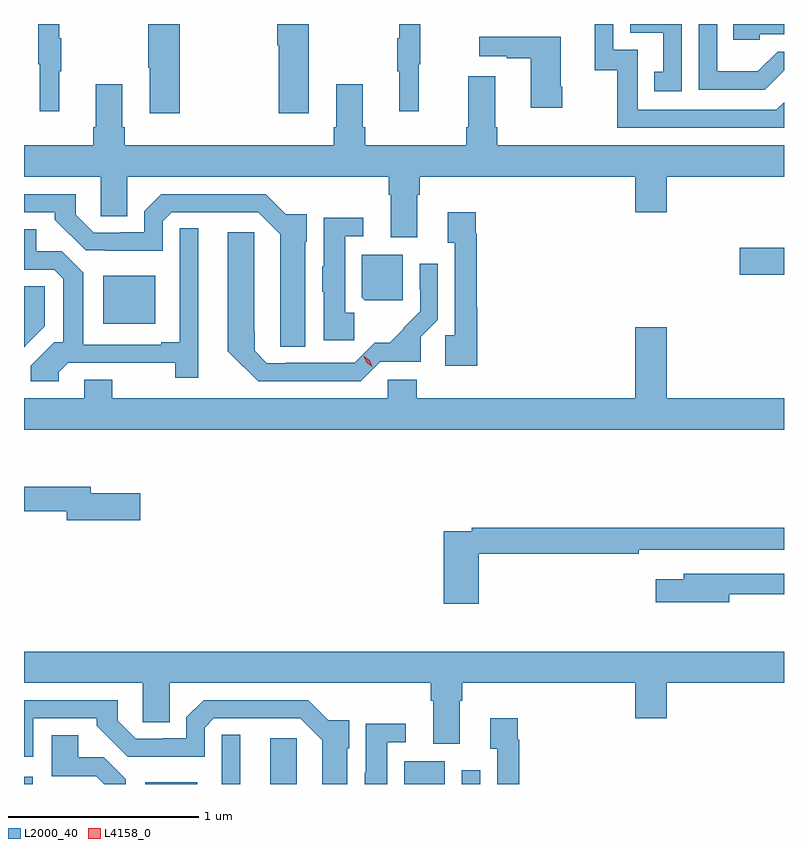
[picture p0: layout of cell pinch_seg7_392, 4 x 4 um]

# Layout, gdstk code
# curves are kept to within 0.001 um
import gdstk
lib = gdstk.Library(unit=1e-6, precision=1e-09)
def R(c, l, rs):  # rectangles x0, y0, x1, y1
    for r in rs: c.add(gdstk.rectangle(r[:2], r[2:], *l))
def P(c, l, *ps):  # polygons
    for p in ps: c.add(gdstk.Polygon(p, *l))
L2000_40 = (2000, 40)
L4158_0 = (4158, 0)

pinch_seg7_392 = lib.new_cell('pinch_seg7_392')
R(pinch_seg7_392, L2000_40, [(545.406,1018.731,545.452,1018.768), (546.044,1018.731,546.319,1018.741), (546.447,1018.731,546.544,1018.991), (546.701,1018.731,546.841,1018.972), (547.406,1018.731,547.621,1018.852), (547.71,1018.731,547.806,1018.804), (545.822,1021.154,546.097,1021.405), (549.174,1021.412,549.406,1021.554)])
P(pinch_seg7_392, L2000_40, [(549.279,1022.676),(549.406,1022.676),(549.406,1022.731),(549.139,1022.731),(549.139,1022.649),(549.279,1022.649)],
  [(548.868,1022.731),(548.598,1022.731),(548.598,1022.685),(548.771,1022.685),(548.771,1022.481),(548.722,1022.481),(548.722,1022.376),(548.868,1022.376)],
  [(546.227,1022.731),(546.061,1022.731),(546.061,1022.5),(546.068,1022.5),(546.068,1022.262),(546.227,1022.262)],
  [(545.591,1022.483),(545.602,1022.483),(545.602,1022.657),(545.591,1022.657),(545.591,1022.731),(545.481,1022.731),(545.481,1022.52),(545.488,1022.52),(545.488,1022.271),(545.591,1022.271)],
  [(546.904,1022.731),(546.74,1022.731),(546.74,1022.619),(546.746,1022.619),(546.746,1022.262),(546.904,1022.262)],
  [(547.484,1022.52),(547.492,1022.52),(547.492,1022.731),(547.382,1022.731),(547.382,1022.657),(547.371,1022.657),(547.371,1022.483),(547.382,1022.483),(547.382,1022.271),(547.484,1022.271)],
  [(549.406,1022.487),(549.406,1022.586),(549.372,1022.586),(549.268,1022.482),(549.054,1022.482),(549.054,1022.731),(548.958,1022.731),(548.958,1022.385),(549.304,1022.385)],
  [(549.406,1022.32),(549.366,1022.28),(548.637,1022.28),(548.637,1022.595),(548.508,1022.595),(548.508,1022.731),(548.411,1022.731),(548.411,1022.487),(548.529,1022.487),(548.529,1022.184),(549.406,1022.184)],
  [(548.238,1022.401),(548.23,1022.401),(548.23,1022.665),(547.803,1022.665),(547.803,1022.561),(547.946,1022.561),(547.946,1022.551),(548.072,1022.551),(548.072,1022.289),(548.238,1022.289)],
  [(547.477,1021.832),(547.49,1021.832),(547.49,1021.928),(548.624,1021.928),(548.624,1021.74),(548.788,1021.74),(548.788,1021.928),(549.406,1021.928),(549.406,1022.092),(547.898,1022.092),(547.898,1022.188),(547.885,1022.188),(547.885,1022.455),(547.745,1022.455),(547.745,1022.188),(547.733,1022.188),(547.733,1022.092),(547.202,1022.092),(547.202,1022.188),(547.189,1022.188),(547.189,1022.413),(547.049,1022.413),(547.049,1022.188),(547.037,1022.188),(547.037,1022.092),(545.936,1022.092),(545.936,1022.188),(545.923,1022.188),(545.923,1022.413),(545.783,1022.413),(545.783,1022.188),(545.771,1022.188),(545.771,1022.092),(545.406,1022.092),(545.406,1021.928),(545.81,1021.928),(545.81,1021.72),(545.95,1021.72),(545.95,1021.928),(547.325,1021.928),(547.325,1021.832),(547.337,1021.832),(547.337,1021.608),(547.477,1021.608)],
  [(546.886,1021.584),(546.895,1021.584),(546.895,1021.731),(546.784,1021.731),(546.679,1021.836),(546.129,1021.836),(546.039,1021.746),(546.039,1021.635),(545.914,1021.635),(545.914,1021.632),(545.772,1021.632),(545.678,1021.727),(545.678,1021.836),(545.406,1021.836),(545.406,1021.74),(545.568,1021.74),(545.568,1021.701),(545.73,1021.539),(546.135,1021.538),(546.135,1021.692),(546.183,1021.74),(546.639,1021.74),(546.755,1021.624),(546.755,1021.033),(546.886,1021.033)],
  [(547.792,1021.239),(547.79,1021.239),(547.79,1021.628),(547.783,1021.628),(547.783,1021.741),(547.637,1021.741),(547.637,1021.58),(547.674,1021.58),(547.674,1021.092),(547.622,1021.092),(547.622,1020.932),(547.792,1020.932)],
  [(547.144,1021.212),(547.096,1021.212),(547.096,1021.614),(547.192,1021.614),(547.192,1021.712),(546.983,1021.712),(546.983,1021.455),(546.977,1021.455),(546.977,1021.323),(546.983,1021.323),(546.983,1021.067),(547.144,1021.067)],
  [(545.59,1020.899),(545.638,1020.948),(546.202,1020.947),(546.202,1020.87),(546.322,1020.87),(546.322,1021.655),(546.225,1021.655),(546.225,1021.057),(546.128,1021.057),(546.128,1021.044),(545.719,1021.044),(545.719,1021.421),(545.604,1021.536),(545.47,1021.536),(545.47,1021.651),(545.406,1021.651),(545.406,1021.437),(545.565,1021.437),(545.613,1021.389),(545.612,1021.057),(545.566,1021.057),(545.442,1020.933),(545.442,1020.852),(545.59,1020.852)],
  [(547.281,1020.954),(547.495,1020.954),(547.495,1021.086),(547.584,1021.175),(547.584,1021.468),(547.488,1021.468),(547.488,1021.334),(547.491,1021.334),(547.491,1021.218),(547.402,1021.129),(547.404,1021.127),(547.331,1021.054),(547.252,1021.054),(547.146,1020.948),(546.784,1020.948),(546.784,1020.945),(546.684,1020.945),(546.62,1021.01),(546.619,1021.636),(546.479,1021.636),(546.479,1021.005),(546.482,1021.005),(546.559,1020.928),(546.56,1020.929),(546.638,1020.852),(547.179,1020.852)],
  [(547.399,1021.516),(547.184,1021.516),(547.184,1021.293),(547.2,1021.277),(547.399,1021.277)],
  [(545.413,1021.036),(545.412,1021.037),(545.515,1021.14),(545.515,1021.241),(545.514,1021.241),(545.514,1021.351),(545.406,1021.351),(545.406,1021.029)],
  [(549.406,1020.76),(548.788,1020.76),(548.788,1021.135),(548.624,1021.135),(548.624,1020.76),(547.472,1020.76),(547.472,1020.858),(547.32,1020.858),(547.32,1020.76),(545.871,1020.76),(545.871,1020.859),(545.723,1020.859),(545.723,1020.76),(545.406,1020.76),(545.406,1020.596),(549.406,1020.596)],
  [(546.019,1020.261),(545.758,1020.261),(545.758,1020.295),(545.406,1020.295),(545.406,1020.166),(545.63,1020.166),(545.63,1020.119),(546.019,1020.119)],
  [(547.799,1019.944),(548.642,1019.944),(548.642,1019.964),(549.406,1019.964),(549.406,1020.08),(547.762,1020.08),(547.762,1020.06),(547.616,1020.06),(547.616,1019.679),(547.799,1019.679)],
  [(549.118,1019.73),(549.406,1019.73),(549.406,1019.838),(548.879,1019.838),(548.879,1019.809),(548.73,1019.809),(548.73,1019.687),(549.118,1019.687)],
  [(547.699,1019.168),(547.712,1019.168),(547.712,1019.264),(548.624,1019.264),(548.624,1019.076),(548.788,1019.076),(548.788,1019.264),(549.406,1019.264),(549.406,1019.428),(545.406,1019.428),(545.406,1019.264),(546.032,1019.264),(546.032,1019.056),(546.172,1019.056),(546.172,1019.264),(547.547,1019.264),(547.547,1019.168),(547.559,1019.168),(547.559,1018.944),(547.699,1018.944)],
  [(547.108,1018.92),(547.117,1018.92),(547.117,1019.067),(547.006,1019.067),(546.901,1019.172),(546.351,1019.172),(546.261,1019.082),(546.261,1018.971),(546.136,1018.971),(546.136,1018.968),(545.994,1018.968),(545.9,1019.063),(545.9,1019.172),(545.406,1019.172),(545.406,1018.875),(545.455,1018.875),(545.455,1019.076),(545.79,1019.076),(545.79,1019.037),(545.952,1018.875),(546.055,1018.874),(546.357,1018.874),(546.357,1019.028),(546.405,1019.076),(546.861,1019.076),(546.977,1018.96),(546.977,1018.731),(547.108,1018.731)],
  [(548.012,1018.964),(548.005,1018.964),(548.005,1019.077),(547.859,1019.077),(547.859,1018.916),(547.896,1018.916),(547.896,1018.731),(548.012,1018.731)],
  [(547.318,1018.95),(547.414,1018.95),(547.414,1019.048),(547.205,1019.048),(547.205,1018.791),(547.199,1018.791),(547.199,1018.731),(547.318,1018.731)],
  [(545.941,1018.757),(545.826,1018.872),(545.692,1018.872),(545.692,1018.987),(545.552,1018.987),(545.552,1018.773),(545.787,1018.773),(545.829,1018.731),(545.941,1018.731)])
P(pinch_seg7_392, L4158_0, [(547.24,1020.928),(547.21,1020.948),(547.195,1020.981),(547.195,1020.982),(547.196,1020.982),(547.226,1020.961),(547.24,1020.928),(547.24,1020.928)])

lib.write_gds('pinch_seg7_392.gds')
